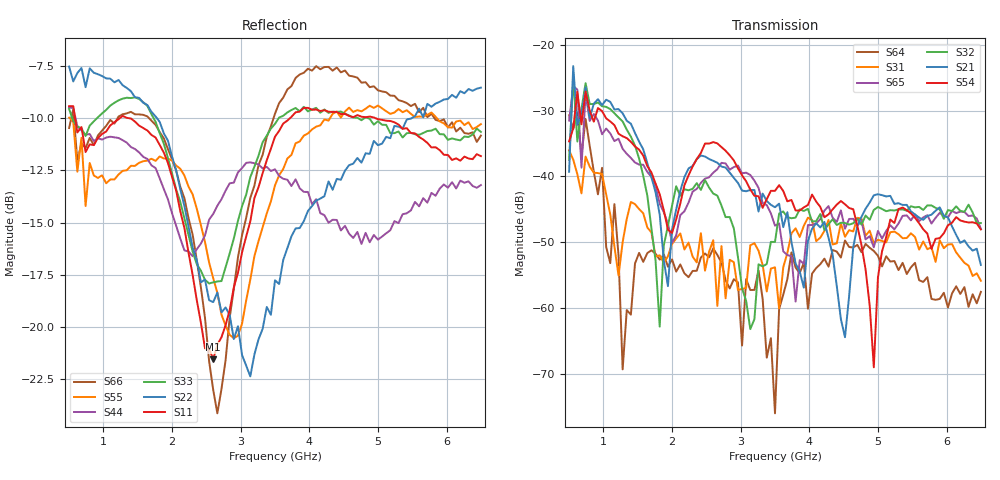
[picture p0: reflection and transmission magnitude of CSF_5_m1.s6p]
!Keysight Technologies,M9804A,MY58100912,A.14.10.03
!Date: Thursday, April 27, 2023 10:28:33
!Correction: S11(C  6-Port  )
!S12(C  6-Port  )
!S13(C  6-Port  )
!S14(C  6-Port  )
!S15(C  6-Port  )
!S16(C  6-Port  )
!S21(C  6-Port  )
!S22(C  6-Port  )
!S23(C  6-Port  )
!S24(C  6-Port  )
!S25(C  6-Port  )
!S26(C  6-Port  )
!S31(C  6-Port  )
!S32(C  6-Port  )
!S33(C  6-Port  )
!S34(C  6-Port  )
!S35(C  6-Port  )
!S36(C  6-Port  )
!S41(C  6-Port  )
!S42(C  6-Port  )
!S43(C  6-Port  )
!S44(C  6-Port  )
!S45(C  6-Port  )
!S46(C  6-Port  )
!S51(C  6-Port  )
!S52(C  6-Port  )
!S53(C  6-Port  )
!S54(C  6-Port  )
!S55(C  6-Port  )
!S56(C  6-Port  )
!S61(C  6-Port  )
!S62(C  6-Port  )
!S63(C  6-Port  )
!S64(C  6-Port  )
!S65(C  6-Port  )
!S66(C  6-Port  )
!S6P File: Measurement: :
# Hz S  RI  R 50
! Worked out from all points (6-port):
!   101 points, 500 MHz to 6.5 GHz, reference 50 ohm
!   strongest paths, dB at 500 MHz, 2 GHz, 3.5 GHz, 5 GHz, 6.5 GHz:
!     S54: -34.7, -48.6, -42.2, -55.4, -48.0
!     S21: -39.3, -48.1, -44.7, -42.7, -53.4
!     S32: -37.5, -44.4, -50.0, -44.6, -47.1
!     S65: -31.5, -50.1, -47.5, -48.3, -48.0
!     S31: -36.1, -50.3, -53.8, -49.6, -55.9
!     S64: -30.7, -52.6, -76.0, -52.0, -57.5
!   lowest |S11| = -21.6 dB at 2.6 GHz (marker M1), VSWR 1.18, Z = 42.5 + j2.08 ohm
!   |S11| at or under -10 dB: 587.9 MHz to 1.235 GHz (647.2 MHz wide, 71 % of centre); 1.386 GHz to 3.716 GHz (2.33 GHz wide, 91.3 % of centre); 4.971 GHz to end of sweep
